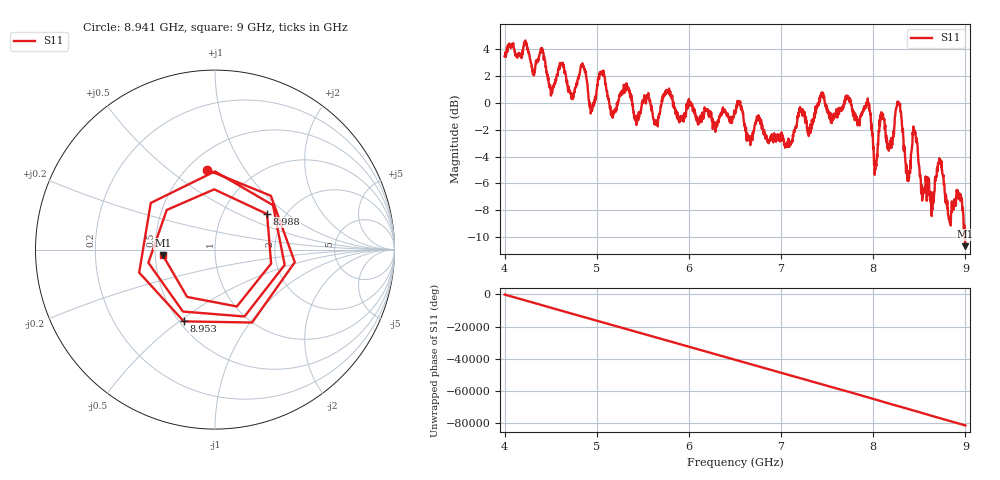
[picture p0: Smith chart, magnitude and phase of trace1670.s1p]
! Created with skrf 1.8.0 (http://scikit-rf.org).
# Hz S RI R 50.0
!freq ReS11 ImS11
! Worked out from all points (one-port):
!   1601 points, 4 GHz to 9 GHz, reference 50 ohm
!   lowest |S11| = -10.7 dB at 9 GHz (marker M1), VSWR 1.83, Z = 27.4 - j1.9 ohm
!   |S11| at or under -10 dB: 8.996054 GHz to end of sweep
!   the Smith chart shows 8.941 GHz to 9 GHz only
!   S11 on the Smith chart (normalised r, x): 8.941 GHz: 0.62, +0.69; 8.953 GHz: 0.53, -0.52; 8.988 GHz: 1.61, +0.73; 9 GHz: 0.55, -0.04
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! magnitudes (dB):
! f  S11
! 4 GHz  3.5
! 4.509 GHz  0.7
! 4.625 GHz  3.0
! 4.734 GHz  0.5
! 4.853 GHz  2.8
! 4.944 GHz  -0.3
! 5.053 GHz  2.3
! 5.162 GHz  -0.9
! 5.25 GHz  0.7
! 5.875 GHz  -1.1
! 6.5 GHz  -0.7
! 7.125 GHz  -2.9
! 7.75 GHz  0.1
! 7.947 GHz  -0.1
! 8.025 GHz  -4.9
! 8.094 GHz  -0.8
! 8.188 GHz  -2.8
! 8.278 GHz  -0.1
! 8.375 GHz  -5.8
! 8.453 GHz  -2.3
! 8.541 GHz  -6.7
! 8.641 GHz  -8.0
! 8.716 GHz  -4.1
! 8.825 GHz  -8.5
! 8.941 GHz  -7.0
! 8.953 GHz  -7.2
! 8.988 GHz  -9.1
! 9 GHz  -10.7
